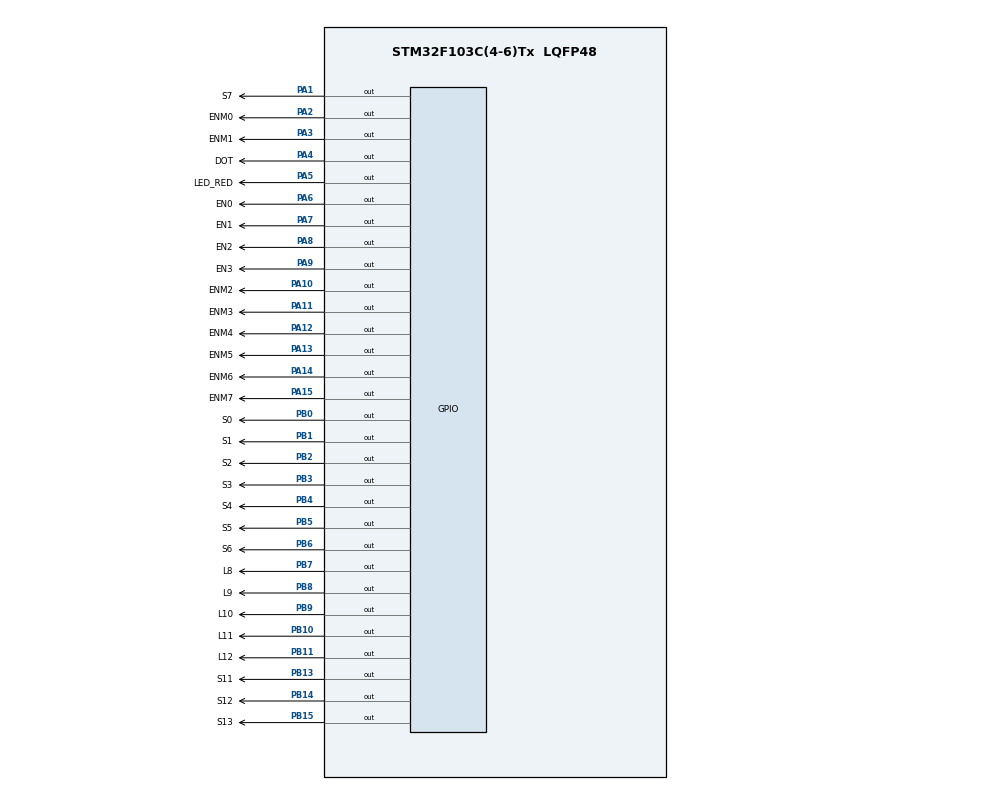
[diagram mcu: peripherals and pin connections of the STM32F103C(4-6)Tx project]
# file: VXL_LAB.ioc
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Mcu.Family=STM32F1
Mcu.Name=STM32F103C(4-6)Tx
Mcu.Package=LQFP48
NVIC.PriorityGroup=NVIC_PRIORITYGROUP_4
NVIC.TIM2_IRQn=true\:0\:0\:false\:false\:true\:true\:true
PA1.GPIO_Label=S7
PA1.Signal=GPIO_Output
PA10.GPIO_Label=ENM2
PA10.Signal=GPIO_Output
PA11.GPIO_Label=ENM3
PA11.Signal=GPIO_Output
PA12.GPIO_Label=ENM4
PA12.Signal=GPIO_Output
PA13.GPIO_Label=ENM5
PA13.Signal=GPIO_Output
PA14.GPIO_Label=ENM6
PA14.Signal=GPIO_Output
PA15.GPIO_Label=ENM7
PA15.Signal=GPIO_Output
PA2.GPIO_Label=ENM0
PA2.Signal=GPIO_Output
PA3.GPIO_Label=ENM1
PA3.Signal=GPIO_Output
PA4.GPIO_Label=DOT
PA4.Signal=GPIO_Output
PA5.GPIO_Label=LED_RED
PA5.Signal=GPIO_Output
PA6.GPIO_Label=EN0
PA6.Signal=GPIO_Output
PA7.GPIO_Label=EN1
PA7.Signal=GPIO_Output
PA8.GPIO_Label=EN2
PA8.Signal=GPIO_Output
PA9.GPIO_Label=EN3
PA9.Signal=GPIO_Output
PB0.GPIO_Label=S0
PB0.Signal=GPIO_Output
PB1.GPIO_Label=S1
PB1.Signal=GPIO_Output
PB10.GPIO_Label=L11
PB10.Signal=GPIO_Output
PB11.GPIO_Label=L12
PB11.Signal=GPIO_Output
PB13.GPIO_Label=S11
PB13.Signal=GPIO_Output
PB14.GPIO_Label=S12
PB14.Signal=GPIO_Output
PB15.GPIO_Label=S13
PB15.Signal=GPIO_Output
PB2.GPIO_Label=S2
PB2.Signal=GPIO_Output
PB3.GPIO_Label=S3
PB3.Signal=GPIO_Output
PB4.GPIO_Label=S4
PB4.Signal=GPIO_Output
PB5.GPIO_Label=S5
PB5.Signal=GPIO_Output
PB6.GPIO_Label=S6
PB6.Signal=GPIO_Output
PB7.GPIO_Label=L8
PB7.Signal=GPIO_Output
PB8.GPIO_Label=L9
PB8.Signal=GPIO_Output
PB9.GPIO_Label=L10
PB9.Signal=GPIO_Output
ProjectManager.HeapSize=0x200
ProjectManager.StackSize=0x400
ProjectManager.TargetToolchain=STM32CubeIDE
RCC.APB1Freq_Value=8000000
RCC.APB2Freq_Value=8000000
TIM2.Period=9
TIM2.Prescaler=7999
VP_SYS_VS_ND.Mode=No_Debug
VP_TIM2_VS_ClockSourceINT.Mode=Internal
board=custom

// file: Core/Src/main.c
/* USER CODE BEGIN Header */
/**
  ******************************************************************************
  * @file           : main.c
  * @brief          : Main program body
  ******************************************************************************
  * @attention
  *
  * <h2><center>&copy; Copyright (c) 2024 STMicroelectronics.
  * All rights reserved.</center></h2>
  *
  * This software component is licensed by ST under BSD 3-Clause license,
  * the "License"; You may not use this file except in compliance with the
  * License. You may obtain a copy of the License at:
  *                        opensource.org/licenses/BSD-3-Clause
  *
  ******************************************************************************
  */
/* USER CODE END Header */
#include "main.h"

/* USER CODE BEGIN Includes */
#include "software_timer.h"
/* USER CODE END Includes */

TIM_HandleTypeDef htim2;

void SystemClock_Config(void);
static void MX_GPIO_Init(void);
static void MX_TIM2_Init(void);

/* USER CODE BEGIN 0 */
void  display7SEG(int num){
	int SMap[10] = {
	        0b00111111, // 0
	        0b00000110, // 1
	        0b01011011, // 2
	        0b01001111, // 3
	        0b01100110, // 4
	        0b01101101, // 5
	        0b01111101, // 6
	        0b00000111, // 7
	        0b01111111, // 8
	        0b01101111  // 9
	    };
	    if (num < 0 || num > 9) {
	        return;
	    }
	    int segments = SMap[num];
	    HAL_GPIO_WritePin(S0_GPIO_Port, S0_Pin, (segments & 0b00000001) ? GPIO_PIN_RESET : GPIO_PIN_SET);
	    HAL_GPIO_WritePin(S1_GPIO_Port, S1_Pin, (segments & 0b00000010) ? GPIO_PIN_RESET : GPIO_PIN_SET);
	    HAL_GPIO_WritePin(S2_GPIO_Port, S2_Pin, (segments & 0b00000100) ? GPIO_PIN_RESET : GPIO_PIN_SET);
	    HAL_GPIO_WritePin(S3_GPIO_Port, S3_Pin, (segments & 0b00001000) ? GPIO_PIN_RESET : GPIO_PIN_SET);
	    HAL_GPIO_WritePin(S4_GPIO_Port, S4_Pin, (segments & 0b00010000) ? GPIO_PIN_RESET : GPIO_PIN_SET);
	    HAL_GPIO_WritePin(S5_GPIO_Port, S5_Pin, (segments & 0b00100000) ? GPIO_PIN_RESET : GPIO_PIN_SET);
	    HAL_GPIO_WritePin(S6_GPIO_Port, S6_Pin, (segments & 0b01000000) ? GPIO_PIN_RESET : GPIO_PIN_SET);
	}
const int MAX_LED = 4;
 int index_led = 0;
 void update7SEG (int index, int num) {
      switch ( index ) {
        case 0:
          // Display the first 7 SEG with led_buffer [0]
     	   HAL_GPIO_WritePin ( EN1_GPIO_Port , EN1_Pin, GPIO_PIN_SET);
     	   HAL_GPIO_WritePin ( EN2_GPIO_Port , EN2_Pin, GPIO_PIN_SET);
     	   HAL_GPIO_WritePin ( EN3_GPIO_Port , EN3_Pin, GPIO_PIN_SET);
     	   display7SEG(num);
     	   HAL_GPIO_WritePin ( EN0_GPIO_Port , EN0_Pin, GPIO_PIN_RESET);
          break ;
        case 1:
          // Display the second 7 SEG with led_buffer [1]
     	   HAL_GPIO_WritePin ( EN0_GPIO_Port , EN0_Pin, GPIO_PIN_SET);
     	   HAL_GPIO_WritePin ( EN2_GPIO_Port , EN2_Pin, GPIO_PIN_SET);
     	   HAL_GPIO_WritePin ( EN3_GPIO_Port , EN3_Pin, GPIO_PIN_SET);
       	   display7SEG(num);
        	   HAL_GPIO_WritePin ( EN1_GPIO_Port , EN1_Pin, GPIO_PIN_RESET);
          break ;
        case 2:
          // Display the third 7 SEG with led_buffer [2]
     	   HAL_GPIO_WritePin ( EN1_GPIO_Port , EN1_Pin, GPIO_PIN_SET);
        	   HAL_GPIO_WritePin ( EN0_GPIO_Port , EN0_Pin, GPIO_PIN_SET);
        	   HAL_GPIO_WritePin ( EN3_GPIO_Port , EN3_Pin, GPIO_PIN_SET);
        	   display7SEG(num);
        	   HAL_GPIO_WritePin ( EN2_GPIO_Port , EN2_Pin, GPIO_PIN_RESET);
          break ;
        case 3:
          // Display the forth 7 SEG with led_buffer [3]
     	   HAL_GPIO_WritePin ( EN1_GPIO_Port , EN1_Pin, GPIO_PIN_SET);
        	   HAL_GPIO_WritePin ( EN2_GPIO_Port , EN2_Pin, GPIO_PIN_SET);
        	   HAL_GPIO_WritePin ( EN0_GPIO_Port , EN0_Pin, GPIO_PIN_SET);
        	   display7SEG(num);
        	   HAL_GPIO_WritePin ( EN3_GPIO_Port , EN3_Pin, GPIO_PIN_RESET);
          break ;
        default :
          break ;
       }
  }
 int counter = 200;
 int cnt = 100;
/* USER CODE END 0 */

int main(void)
{

  /* MCU Configuration--------------------------------------------------------*/

  /* Reset of all peripherals, Initializes the Flash interface and the Systick. */
  HAL_Init();

  /* USER CODE BEGIN Init */
  MX_GPIO_Init () ;
  MX_TIM2_Init () ;
  /* USER CODE END Init */

  /* Configure the system clock */
  SystemClock_Config();

  /* Initialize all configured peripherals */
  MX_GPIO_Init();
  MX_TIM2_Init();
  /* USER CODE BEGIN 2 */
  HAL_TIM_Base_Start_IT (& htim2 ) ;

  /* USER CODE END 2 */

  /* Infinite loop */
  /* USER CODE BEGIN WHILE */
  int hour = 15 , minute = 8 , second = 50;
  setTimer1(100);
  setTimer2(50);
  void updateClockBuffer (){
	  if(timer1_flag == 1){
		  setTimer1(100);
		  HAL_GPIO_TogglePin(DOT_GPIO_Port, DOT_Pin);
		  index_led++;
		  if(index_led > 3){
			  index_led = 0;
		  }
	  }
	  switch (index_led){
	  case 0:
		  if(hour<10){
			  update7SEG (0, 0);
		  }
		  if(hour>=10){
			  update7SEG (0, hour/10);
		  }
		  break;
	  case 1:
		  update7SEG (1, hour%10);
		  break;
	  case 2:
		  if(minute<10){
			  update7SEG (2, 0);
		  }
		  if(minute>=10){
			  update7SEG (2, minute/10);
		  }
		  break;
	  case 3:
		  update7SEG (3, minute%10);
	      break;
	  default:
	      break;
	  }
   }
  while (1)
  {
	  if(timer2_flag == 1){
		  setTimer2(50);
	      second ++;
	  }
	  if ( second >= 60) {
		  second = 0;
	      minute ++;
	  }
	  if( minute >= 60) {
	      minute = 0;
	      hour ++;
	  }
	  if( hour >=24) {
	      hour = 0;
	  }
	  updateClockBuffer ();
    /* USER CODE END WHILE */

  }
}

void SystemClock_Config(void)
{
  RCC_OscInitTypeDef RCC_OscInitStruct = {0};
  RCC_ClkInitTypeDef RCC_ClkInitStruct = {0};

  /** Initializes the RCC Oscillators according to the specified parameters
  * in the RCC_OscInitTypeDef structure.
  */
  RCC_OscInitStruct.OscillatorType = RCC_OSCILLATORTYPE_HSI;
  RCC_OscInitStruct.HSIState = RCC_HSI_ON;
  RCC_OscInitStruct.HSICalibrationValue = RCC_HSICALIBRATION_DEFAULT;
  RCC_OscInitStruct.PLL.PLLState = RCC_PLL_NONE;
  if (HAL_RCC_OscConfig(&RCC_OscInitStruct) != HAL_OK)
  {
    Error_Handler();
  }
  /** Initializes the CPU, AHB and APB buses clocks
  */
  RCC_ClkInitStruct.ClockType = RCC_CLOCKTYPE_HCLK|RCC_CLOCKTYPE_SYSCLK
                              |RCC_CLOCKTYPE_PCLK1|RCC_CLOCKTYPE_PCLK2;
  RCC_ClkInitStruct.SYSCLKSource = RCC_SYSCLKSOURCE_HSI;
  RCC_ClkInitStruct.AHBCLKDivider = RCC_SYSCLK_DIV1;
  RCC_ClkInitStruct.APB1CLKDivider = RCC_HCLK_DIV1;
  RCC_ClkInitStruct.APB2CLKDivider = RCC_HCLK_DIV1;

  if (HAL_RCC_ClockConfig(&RCC_ClkInitStruct, FLASH_LATENCY_0) != HAL_OK)
  {
    Error_Handler();
  }
}

static void MX_TIM2_Init(void)
{

  TIM_ClockConfigTypeDef sClockSourceConfig = {0};
  TIM_MasterConfigTypeDef sMasterConfig = {0};

  htim2.Instance = TIM2;
  htim2.Init.Prescaler = 7999;
  htim2.Init.CounterMode = TIM_COUNTERMODE_UP;
  htim2.Init.Period = 9;
  htim2.Init.ClockDivision = TIM_CLOCKDIVISION_DIV1;
  htim2.Init.AutoReloadPreload = TIM_AUTORELOAD_PRELOAD_DISABLE;
  if (HAL_TIM_Base_Init(&htim2) != HAL_OK)
  {
    Error_Handler();
  }
  sClockSourceConfig.ClockSource = TIM_CLOCKSOURCE_INTERNAL;
  if (HAL_TIM_ConfigClockSource(&htim2, &sClockSourceConfig) != HAL_OK)
  {
    Error_Handler();
  }
  sMasterConfig.MasterOutputTrigger = TIM_TRGO_RESET;
  sMasterConfig.MasterSlaveMode = TIM_MASTERSLAVEMODE_DISABLE;
  if (HAL_TIMEx_MasterConfigSynchronization(&htim2, &sMasterConfig) != HAL_OK)
  {
    Error_Handler();
  }

}

static void MX_GPIO_Init(void)
{
  GPIO_InitTypeDef GPIO_InitStruct = {0};

  /* GPIO Ports Clock Enable */
  __HAL_RCC_GPIOA_CLK_ENABLE();
  __HAL_RCC_GPIOB_CLK_ENABLE();

  /*Configure GPIO pin Output Level */
  HAL_GPIO_WritePin(GPIOA, S7_Pin|ENM0_Pin|ENM1_Pin|DOT_Pin
                          |LED_RED_Pin|EN0_Pin|EN1_Pin|EN2_Pin
                          |EN3_Pin|ENM2_Pin|ENM3_Pin|ENM4_Pin
                          |ENM5_Pin|ENM6_Pin|ENM7_Pin, GPIO_PIN_RESET);

  /*Configure GPIO pin Output Level */
  HAL_GPIO_WritePin(GPIOB, S0_Pin|S1_Pin|S2_Pin|L11_Pin
                          |L12_Pin|S11_Pin|S12_Pin|S13_Pin
                          |S3_Pin|S4_Pin|S5_Pin|S6_Pin
                          |L8_Pin|L9_Pin|L10_Pin, GPIO_PIN_RESET);

  /*Configure GPIO pins : S7_Pin ENM0_Pin ENM1_Pin DOT_Pin
                           LED_RED_Pin EN0_Pin EN1_Pin EN2_Pin
                           EN3_Pin ENM2_Pin ENM3_Pin ENM4_Pin
                           ENM5_Pin ENM6_Pin ENM7_Pin */
  GPIO_InitStruct.Pin = S7_Pin|ENM0_Pin|ENM1_Pin|DOT_Pin
                          |LED_RED_Pin|EN0_Pin|EN1_Pin|EN2_Pin
                          |EN3_Pin|ENM2_Pin|ENM3_Pin|ENM4_Pin
                          |ENM5_Pin|ENM6_Pin|ENM7_Pin;
  GPIO_InitStruct.Mode = GPIO_MODE_OUTPUT_PP;
  GPIO_InitStruct.Pull = GPIO_NOPULL;
  GPIO_InitStruct.Speed = GPIO_SPEED_FREQ_LOW;
  HAL_GPIO_Init(GPIOA, &GPIO_InitStruct);

  /*Configure GPIO pins : S0_Pin S1_Pin S2_Pin L11_Pin
                           L12_Pin S11_Pin S12_Pin S13_Pin
                           S3_Pin S4_Pin S5_Pin S6_Pin
                           L8_Pin L9_Pin L10_Pin */
  GPIO_InitStruct.Pin = S0_Pin|S1_Pin|S2_Pin|L11_Pin
                          |L12_Pin|S11_Pin|S12_Pin|S13_Pin
                          |S3_Pin|S4_Pin|S5_Pin|S6_Pin
                          |L8_Pin|L9_Pin|L10_Pin;
  GPIO_InitStruct.Mode = GPIO_MODE_OUTPUT_PP;
  GPIO_InitStruct.Pull = GPIO_NOPULL;
  GPIO_InitStruct.Speed = GPIO_SPEED_FREQ_LOW;
  HAL_GPIO_Init(GPIOB, &GPIO_InitStruct);

}

/* USER CODE BEGIN 4 */
void HAL_TIM_PeriodElapsedCallback ( TIM_HandleTypeDef * htim )
 {
   timerRun();
}
/* USER CODE END 4 */

void Error_Handler(void)
{
  __disable_irq();
  while (1)
  {
  }
}

/************************ (C) COPYRIGHT STMicroelectronics *****END OF FILE****/
